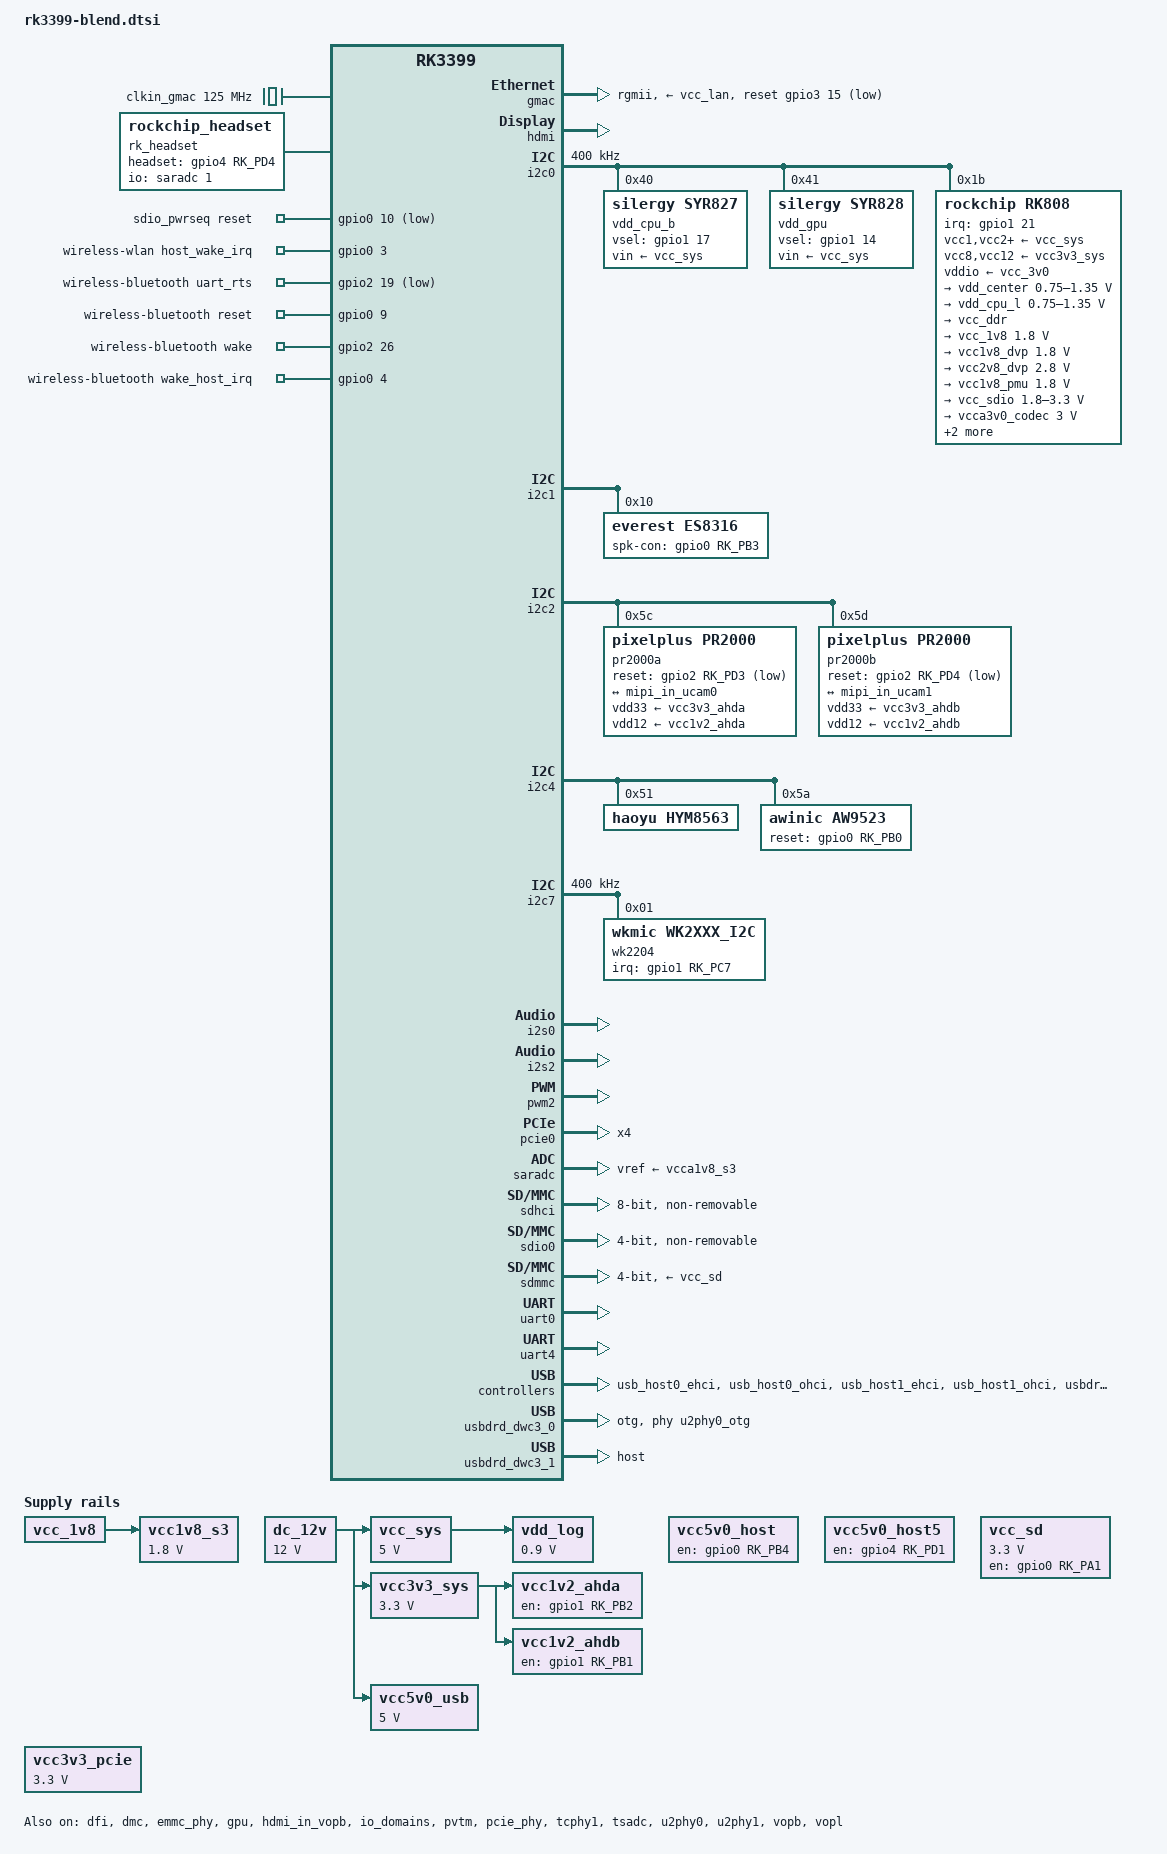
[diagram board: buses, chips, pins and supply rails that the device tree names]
/*
 * Copyright (c) 2018 Fuzhou Rockchip Electronics Co., Ltd
 *
 * SPDX-License-Identifier: (GPL-2.0+ OR MIT)
 */

/dts-v1/;

#include "rk3399.dtsi"
#include "rk3399-opp.dtsi"
#include "dt-bindings/pwm/pwm.h"
#include <dt-bindings/sensor-dev.h>
#include <dt-bindings/input/input.h>
#include <dt-bindings/suspend/rockchip-rk3399.h>

/ {

	clkin_gmac: external-gmac-clock {
		compatible = "fixed-clock";
		clock-frequency = <125000000>;
		clock-output-names = "clkin_gmac";
		#clock-cells = <0>;
	};

	dc_12v: dc-12v {
		compatible = "regulator-fixed";
		regulator-name = "dc_12v";
		regulator-always-on;
		regulator-boot-on;
		regulator-min-microvolt = <12000000>;
		regulator-max-microvolt = <12000000>;
	};

	es8316-sound {
		compatible = "simple-audio-card";
		simple-audio-card,format = "i2s";
		simple-audio-card,name = "rockchip,es8316-codec";
		simple-audio-card,mclk-fs = <256>;
		simple-audio-card,widgets =
			"Microphone", "Mic Jack",
			"Headphone", "Headphone Jack";
		simple-audio-card,routing =
			"Mic Jack", "MICBIAS1",
			"IN1P", "Mic Jack",
			"Headphone Jack", "HPOL",
			"Headphone Jack", "HPOR";
		simple-audio-card,cpu {
			sound-dai = <&i2s0>;
		};
		simple-audio-card,codec {
			sound-dai = <&es8316>;
		};
	};

	hdmi_sound: hdmi-sound {
		status = "okay";
		compatible = "simple-audio-card";
		simple-audio-card,format = "i2s";
		simple-audio-card,mclk-fs = <256>;
		simple-audio-card,name = "rockchip,hdmi";

		simple-audio-card,cpu {
			sound-dai = <&i2s2>;
		};
		simple-audio-card,codec {
			sound-dai = <&hdmi>;
		};
	};

	rk_headset {
		compatible = "rockchip_headset";
		io-channels = <&saradc 1>;
		io-channels-name = "headset";
		headset_gpio = <&gpio4 RK_PD4 GPIO_ACTIVE_HIGH>;
		pinctrl-names = "default";
		pinctrl-0 = <&headset_det>;
		status = "okay";
	};

	sdio_pwrseq: sdio-pwrseq {
		compatible = "mmc-pwrseq-simple";
		clocks = <&rk808 1>;
		clock-names = "ext_clock";
		pinctrl-names = "default";
		pinctrl-0 = <&wifi_enable_h>;

		/*
		 * On the module itself this is one of these (depending
		 * on the actual card populated):
		 * - SDIO_RESET_L_WL_REG_ON
		 * - PDN (power down when low)
		 */
		reset-gpios = <&gpio0 10 GPIO_ACTIVE_LOW>; /* GPIO0_B2 */
	};

	vcc_sys: vcca: vcc-sys {
		compatible = "regulator-fixed";
		regulator-name = "vcc_sys";
		regulator-always-on;
		regulator-boot-on;
		regulator-min-microvolt = <5000000>;
		regulator-max-microvolt = <5000000>;
		vin-supply = <&dc_12v>;
	};

	vcc3v3_sys: vcc3v3-sys {
		compatible = "regulator-fixed";
		regulator-name = "vcc3v3_sys";
		regulator-always-on;
		regulator-boot-on;
		regulator-min-microvolt = <3300000>;
		regulator-max-microvolt = <3300000>;
		vin-supply = <&dc_12v>;
	};

	vdd_log: vdd-log {
		compatible = "regulator-fixed";
		regulator-name = "vdd_log";
		regulator-always-on;
		regulator-boot-on;
		regulator-min-microvolt = <900000>;
		regulator-max-microvolt = <900000>;
		vin-supply = <&vcc_sys>;
	};

	/* switched by pmic_sleep */
	vcc1v8_s3: vcca1v8_s3: vcc1v8-s3 {
		compatible = "regulator-fixed";
		regulator-name = "vcc1v8_s3";
		regulator-always-on;
		regulator-boot-on;
		regulator-min-microvolt = <1800000>;
		regulator-max-microvolt = <1800000>;
		vin-supply = <&vcc_1v8>;
	};


	vcc5v0_usb: vcc5v0_host1: vcc5v0_host2: vcc5v0_host3: vcc5v0-usb {
		compatible = "regulator-fixed";
		regulator-name = "vcc5v0_usb";
		regulator-always-on;
		regulator-boot-on;
		regulator-min-microvolt = <5000000>;
		regulator-max-microvolt = <5000000>;
		vin-supply = <&dc_12v>;
	};

	vcc5v0_host: vcc5v0_host4: vcc5v0-host4 {
		compatible = "regulator-fixed";
		regulator-name = "vcc5v0_host";
		enable-active-high;
		regulator-always-on;
		gpio = <&gpio0 RK_PB4 GPIO_ACTIVE_HIGH>;
		pinctrl-names = "default";
		pinctrl-0 = <&host_vbus_drv>;
	};


	vcc5v0_host5:vcc5v0-host5 {
		compatible = "regulator-fixed";
		regulator-name = "vcc5v0_host5";
		enable-active-high;
		regulator-always-on;
		gpio = <&gpio4 RK_PD1 GPIO_ACTIVE_HIGH>;
		pinctrl-names = "default";
		pinctrl-0 = <&host5_5v_en>;
	};

#if 0
	vcc5v0_ext: vcc3v3_ext: vcc-ext {
		compatible = "regulator-fixed";
		enable-active-high;
		gpio = <&gpio4 25 GPIO_ACTIVE_HIGH>;
		pinctrl-names = "default";
		pinctrl-0 = <&vcc_ext_pin>;
		regulator-name = "vcc_ext";
		regulator-always-on;
	};
#endif

	vcc_sd: vcc-sd {
		compatible = "regulator-fixed";
		enable-active-high;
		gpio = <&gpio0 RK_PA1 GPIO_ACTIVE_HIGH>;
		pinctrl-names = "default";
		pinctrl-0 = <&vcc_sd_h>;
		regulator-name = "vcc_sd";
		regulator-min-microvolt = <3300000>;
		regulator-max-microvolt = <3300000>;
	};

	vcc1v2_ahda: vcc3v3_ahda: vcc3v3-ahda {
		compatible = "regulator-fixed";
		enable-active-high;
		gpio = <&gpio1 RK_PB2 GPIO_ACTIVE_HIGH>;
		pinctrl-names = "default";
		pinctrl-0 = <&pr2000_pwren_a>;
		regulator-name = "ahd_pwren_a";
		vin-supply = <&vcc3v3_sys>;
	};

	vcc1v2_ahdb: vcc3v3_ahdb: vcc3v3-ahdb {
		compatible = "regulator-fixed";
		enable-active-high;
		gpio = <&gpio1 RK_PB1 GPIO_ACTIVE_HIGH>;
		pinctrl-names = "default";
		pinctrl-0 = <&pr2000_pwren_b>;
		regulator-name = "ahd_pwren_b";
		vin-supply = <&vcc3v3_sys>;
	};


	vcc3v3_pcie: vcc3v3-pcie {
		compatible = "regulator-fixed";
		regulator-always-on;
		regulator-boot-on;
#if 1
		regulator-min-microvolt = <3300000>;
		regulator-max-microvolt = <3300000>;
#else
		enable-active-high;
		gpio = <&gpio1 RK_PC2 GPIO_ACTIVE_HIGH>;
		pinctrl-names = "default";
		pinctrl-0 = <&vcc_pcie>;
#endif
		regulator-name = "vcc_pcie";
	};

	wireless-wlan {
		compatible = "wlan-platdata";
		rockchip,grf = <&grf>;
		wifi_chip_type = "ap6256";
		sdio_vref = <1800>;
		WIFI,host_wake_irq = <&gpio0 3 GPIO_ACTIVE_HIGH>; /* GPIO0_a3 */
		status = "okay";
	};

	wireless-bluetooth {
		compatible = "bluetooth-platdata";
		clocks = <&rk808 1>;
		clock-names = "ext_clock";
		//wifi-bt-power-toggle;
		uart_rts_gpios = <&gpio2 19 GPIO_ACTIVE_LOW>; /* GPIO2_C3 */
		pinctrl-names = "default", "rts_gpio";
		pinctrl-0 = <&uart0_rts>;
		pinctrl-1 = <&uart0_gpios>;
		//BT,power_gpio  = <&gpio3 19 GPIO_ACTIVE_HIGH>; /* GPIOx_xx */
		BT,reset_gpio    = <&gpio0 9 GPIO_ACTIVE_HIGH>; /* GPIO0_B1 */
		BT,wake_gpio     = <&gpio2 26 GPIO_ACTIVE_HIGH>; /* GPIO2_D2 */
		BT,wake_host_irq = <&gpio0 4 GPIO_ACTIVE_HIGH>; /* GPIO0_A4 */
		status = "okay";
	};
};


&cpu_l0 {
	cpu-supply = <&vdd_cpu_l>;
};

&cpu_l1 {
	cpu-supply = <&vdd_cpu_l>;
};

&cpu_l2 {
	cpu-supply = <&vdd_cpu_l>;
};

&cpu_l3 {
	cpu-supply = <&vdd_cpu_l>;
};

&cpu_b0 {
	cpu-supply = <&vdd_cpu_b>;
};

&cpu_b1 {
	cpu-supply = <&vdd_cpu_b>;
};

&dfi {
	status = "okay";
};

&dmc {
	status = "okay";
	center-supply = <&vdd_center>;
	upthreshold = <40>;
	downdifferential = <20>;
	system-status-freq = <
		/*system status         freq(KHz)*/
		SYS_STATUS_NORMAL       800000
		SYS_STATUS_REBOOT       528000
		SYS_STATUS_SUSPEND      200000
		SYS_STATUS_VIDEO_1080P  200000
		SYS_STATUS_VIDEO_4K     600000
		SYS_STATUS_VIDEO_4K_10B 800000
		SYS_STATUS_PERFORMANCE  800000
		SYS_STATUS_BOOST        400000
		SYS_STATUS_DUALVIEW     600000
		SYS_STATUS_ISP          600000
	>;
	vop-bw-dmc-freq = <
	/* min_bw(MB/s) max_bw(MB/s) freq(KHz) */
		0       762      200000
		763     1893     400000
		1894    3012     528000
		3013    99999    800000
	>;
	auto-min-freq = <200000>;
};

&emmc_phy {
	status = "okay";
};

&gmac {
	phy-supply = <&vcc_lan>;
	phy-mode = "rgmii";
	clock_in_out = "input";
	snps,reset-gpio = <&gpio3 15 GPIO_ACTIVE_LOW>;
	snps,reset-active-low;
	snps,reset-delays-us = <0 10000 50000>;
	assigned-clocks = <&cru SCLK_RMII_SRC>;
	assigned-clock-parents = <&clkin_gmac>;
	pinctrl-names = "default";
	pinctrl-0 = <&rgmii_pins>;
	tx_delay = <0x30>;
	rx_delay = <0x11>;
	status = "okay";
};

&gpu {
	status = "okay";
	mali-supply = <&vdd_gpu>;
};

&hdmi {
	status = "okay";
	#address-cells = <1>;
	#size-cells = <0>;
	#sound-dai-cells = <0>;
	ddc-i2c-scl-high-time-ns = <9625>;
	ddc-i2c-scl-low-time-ns = <10000>;
};

&hdmi_in_vopb {
	status = "okay";
};

&hdmi_in_vopl {
	status = "disabled";
};

&i2c0 {
	status = "okay";
	i2c-scl-rising-time-ns = <168>;
	i2c-scl-falling-time-ns = <4>;
	clock-frequency = <400000>;

	vdd_cpu_b: syr827@40 {
		compatible = "silergy,syr827";
		reg = <0x40>;
		vin-supply = <&vcc_sys>;
		regulator-compatible = "fan53555-reg";
		pinctrl-0 = <&vsel1_gpio>;
		vsel-gpios = <&gpio1 17 GPIO_ACTIVE_HIGH>;
		regulator-name = "vdd_cpu_b";
		regulator-min-microvolt = <712500>;
		regulator-max-microvolt = <1500000>;
		regulator-ramp-delay = <1000>;
		fcs,suspend-voltage-selector = <1>;
		regulator-always-on;
		regulator-boot-on;
		regulator-initial-state = <3>;
		regulator-state-mem {
			regulator-off-in-suspend;
		};
	};

	vdd_gpu: syr828@41 {
		compatible = "silergy,syr828";
		reg = <0x41>;
		vin-supply = <&vcc_sys>;
		regulator-compatible = "fan53555-reg";
		pinctrl-0 = <&vsel2_gpio>;
		vsel-gpios = <&gpio1 14 GPIO_ACTIVE_HIGH>;
		regulator-name = "vdd_gpu";
		regulator-min-microvolt = <712500>;
		regulator-max-microvolt = <1500000>;
		regulator-ramp-delay = <1000>;
		fcs,suspend-voltage-selector = <1>;
		regulator-always-on;
		regulator-boot-on;
		regulator-initial-state = <3>;
		regulator-state-mem {
			regulator-off-in-suspend;
		};
	};

	rk808: pmic@1b {
		compatible = "rockchip,rk808";
		reg = <0x1b>;
		interrupt-parent = <&gpio1>;
		interrupts = <21 IRQ_TYPE_LEVEL_LOW>;
		pinctrl-names = "default";

#if 1
		pinctrl-0 = <&pmic_int_l>;
#else
		pinctrl-0 = <&pmic_int_l &pmic_dvs2>;
#endif
		rockchip,system-power-controller;
		wakeup-source;
		#clock-cells = <1>;
		clock-output-names = "xin32k", "rk808-clkout2";

		vcc1-supply = <&vcc_sys>;
		vcc2-supply = <&vcc_sys>;
		vcc3-supply = <&vcc_sys>;
		vcc4-supply = <&vcc_sys>;
		vcc6-supply = <&vcc_sys>;
		vcc7-supply = <&vcc_sys>;
		vcc8-supply = <&vcc3v3_sys>;
		vcc9-supply = <&vcc_sys>;
		vcc10-supply = <&vcc_sys>;
		vcc11-supply = <&vcc_sys>;
		vcc12-supply = <&vcc3v3_sys>;
		vddio-supply = <&vcc_3v0>;

		regulators {
			vdd_center: DCDC_REG1 {
				regulator-always-on;
				regulator-boot-on;
				regulator-min-microvolt = <750000>;
				regulator-max-microvolt = <1350000>;
				regulator-ramp-delay = <6001>;
				regulator-name = "vdd_center";
				regulator-state-mem {
					regulator-off-in-suspend;
				};
			};

			vdd_cpu_l: DCDC_REG2 {
				regulator-always-on;
				regulator-boot-on;
				regulator-min-microvolt = <750000>;
				regulator-max-microvolt = <1350000>;
				regulator-ramp-delay = <6001>;
				regulator-name = "vdd_cpu_l";
				regulator-state-mem {
					regulator-off-in-suspend;
				};
			};

			vcc_ddr: DCDC_REG3 {
				regulator-always-on;
				regulator-boot-on;
				regulator-name = "vcc_ddr";
				regulator-state-mem {
					regulator-on-in-suspend;
				};
			};

			vcc_1v8: DCDC_REG4 {
				regulator-always-on;
				regulator-boot-on;
				regulator-min-microvolt = <1800000>;
				regulator-max-microvolt = <1800000>;
				regulator-name = "vcc_1v8";
				regulator-state-mem {
					regulator-on-in-suspend;
					regulator-suspend-microvolt = <1800000>;
				};
			};

			vcc1v8_dvp: LDO_REG1 {
				regulator-always-on;
				regulator-boot-on;
				regulator-min-microvolt = <1800000>;
				regulator-max-microvolt = <1800000>;
				regulator-name = "vcc1v8_dvp";
				regulator-state-mem {
					regulator-off-in-suspend;
				};
			};

			vcc2v8_dvp: LDO_REG2 {
				regulator-always-on;
				regulator-boot-on;
				regulator-min-microvolt = <2800000>;
				regulator-max-microvolt = <2800000>;
				regulator-name = "vcc2v8_dvp";
				regulator-state-mem {
					regulator-off-in-suspend;
				};
			};

			vcc1v8_pmu: LDO_REG3 {
				regulator-always-on;
				regulator-boot-on;
				regulator-min-microvolt = <1800000>;
				regulator-max-microvolt = <1800000>;
				regulator-name = "vcc1v8_pmu";
				regulator-state-mem {
					regulator-on-in-suspend;
					regulator-suspend-microvolt = <1800000>;
				};
			};

			vcc_sdio: LDO_REG4 {
				regulator-always-on;
				regulator-boot-on;
				regulator-min-microvolt = <1800000>;
				regulator-max-microvolt = <3300000>;
				regulator-name = "vcc_sdio";
				regulator-state-mem {
					regulator-off-in-suspend;
				};
			};

			vcca3v0_codec: LDO_REG5 {
				regulator-always-on;
				regulator-boot-on;
				regulator-min-microvolt = <3000000>;
				regulator-max-microvolt = <3000000>;
				regulator-name = "vcca3v0_codec";
				regulator-state-mem {
					regulator-off-in-suspend;
				};
			};

			vcc_1v5: LDO_REG6 {
				regulator-always-on;
				regulator-boot-on;
				regulator-min-microvolt = <1500000>;
				regulator-max-microvolt = <1500000>;
				regulator-name = "vcc_1v5";
				regulator-state-mem {
					regulator-on-in-suspend;
					regulator-suspend-microvolt = <1500000>;
				};
			};

			vcca1v8_codec: LDO_REG7 {
				regulator-always-on;
				regulator-boot-on;
				regulator-min-microvolt = <1800000>;
				regulator-max-microvolt = <1800000>;
				regulator-name = "vcca1v8_codec";
				regulator-state-mem {
					regulator-off-in-suspend;
				};
			};

			vcc_3v0: LDO_REG8 {
				regulator-always-on;
				regulator-boot-on;
				regulator-min-microvolt = <3000000>;
				regulator-max-microvolt = <3000000>;
				regulator-name = "vcc_3v0";
				regulator-state-mem {
					regulator-on-in-suspend;
					regulator-suspend-microvolt = <3000000>;
				};
			};

			vcc3v3_s3: vcc_lan: SWITCH_REG1 {
				regulator-always-on;
				regulator-boot-on;
				regulator-name = "vcc3v3_s3";
				regulator-state-mem {
					regulator-off-in-suspend;
				};
			};

			vcc3v3_s0: vcc_lcd: SWITCH_REG2 {
				regulator-always-on;
				regulator-boot-on;
				regulator-name = "vcc3v3_s0";
				regulator-state-mem {
					regulator-off-in-suspend;
				};
			};
		};
	};
};

&i2c1 {
	status = "okay";
	i2c-scl-rising-time-ns = <140>;
	i2c-scl-falling-time-ns = <30>;

	es8316: es8316@10 {
		#sound-dai-cells = <0>;
		compatible = "everest,es8316";
		reg = <0x10>;
		clocks = <&cru SCLK_I2S_8CH_OUT>;
		clock-names = "mclk";
		pinctrl-names = "default";
		pinctrl-0 = <&i2s_8ch_mclk>;
		spk-con-gpio = <&gpio0 RK_PB3 GPIO_ACTIVE_HIGH>;
	};

};

&i2c2 {
	status = "okay";

	i2c-scl-rising-time-ns = <600>;
	i2c-scl-falling-time-ns = <20>;

	pr2000a: pr2000a@5c {
		compatible = "pixelplus,pr2000";
		status = "okay";
		reg = <0x5c>;

		clocks = <&cam27m_clk_a>;
		clock-names = "xvclk";

		vdd33-supply = <&vcc3v3_ahda>;
		vdd12-supply = <&vcc1v2_ahda>;

		reset-gpios = <&gpio2 RK_PD3 GPIO_ACTIVE_LOW>;

		pinctrl-names = "default";
		pinctrl-0 = <&pr2000_gpios_a>;


		rockchip,camera-module-index = <0>;
		rockchip,camera-module-facing = "back";
		rockchip,camera-module-name = "RTAVS-PR2000";
		rockchip,camera-module-lens-name = "RTAVS-100";

		cam27m_clk_a: camera-27m-clock-a {
			compatible = "fixed-clock";
			clock-frequency = <27000000>;
			clock-output-names = "cam27ma";
			#clock-cells = <0>;
		};

		port {
			ucam_out0: endpoint {
				remote-endpoint = <&mipi_in_ucam0>;
				clock-lanes = <0>;
				data-lanes = <1 2 3 4>;
			};
		};
	};


	pr2000b: pr2000b@5d {
		compatible = "pixelplus,pr2000";
		status = "okay";
		reg = <0x5d>;

		clocks = <&cam27m_clk_b>;
		clock-names = "xvclk";

		vdd33-supply = <&vcc3v3_ahdb>;
		vdd12-supply = <&vcc1v2_ahdb>;

		reset-gpios = <&gpio2 RK_PD4 GPIO_ACTIVE_LOW>;

		pinctrl-names = "default";
		pinctrl-0 = <&pr2000_gpios_b>;


		rockchip,camera-module-index = <1>;
		rockchip,camera-module-facing = "front";
		rockchip,camera-module-name = "RTAVS-PR2000";
		rockchip,camera-module-lens-name = "RTAVS-100";

		cam27m_clk_b: camera-27m-clock-b {
			compatible = "fixed-clock";
			clock-frequency = <27000000>;
			clock-output-names = "cam27mb";
			#clock-cells = <0>;
		};

		port {
			ucam_out1: endpoint {
				remote-endpoint = <&mipi_in_ucam1>;
				clock-lanes = <0>;
				data-lanes = <1 2 3 4>;
			};
		};
	};
};


&i2c4 {
	status = "okay";
	i2c-scl-rising-time-ns = <600>;
	i2c-scl-falling-time-ns = <20>;

	hym8563: hym8563@51 {
		compatible = "haoyu,hym8563";
		reg = <0x51>;
		status = "okay";
	};

	aw9523: aw9523@5a {
		compatible = "awinic,aw9523";
		reg = <0x5a>;
		status = "okay";

		reset-gpios = <&gpio0 RK_PB0 GPIO_ACTIVE_HIGH>;

		pinctrl-names = "default";
		pinctrl-0 = <&aw9523_reset>;

		aw9523_gpio: gpio {
			compatible = "awinic,aw9523-gpio";
			gpio-controller;
			#gpio-cells = <2>;
		};
	};
};

&i2c7 {
	status = "okay";
	clock-frequency = <400000>;
	i2c-scl-rising-time-ns = <600>;
	i2c-scl-falling-time-ns = <20>;

	wk2204@01 {
		compatible = "wkmic,wk2xxx_i2c";
		reg = <0x01>;
		interrupt-parent = <&gpio1>;
		interrupts = <RK_PC7 IRQ_TYPE_LEVEL_LOW>;
		pinctrl-names = "default";
		pinctrl-0 = <&wk2xxx_irq_gpio>;
		status = "okay";
	};

};


&i2s0 {
	status = "okay";
	pinctrl-0 = <&i2s0_2ch_bus>;
	rockchip,i2s-broken-burst-len;
	rockchip,playback-channels = <2>;
	rockchip,capture-channels = <2>;
	rockchip,bclk-fs = <32>;
	#sound-dai-cells = <0>;
};

&i2s2 {
	#sound-dai-cells = <0>;
	status = "okay";
};

&io_domains {
	status = "okay";

	bt656-supply = <&vcc1v8_dvp>;		/* bt656_gpio2ab_ms */
	audio-supply = <&vcca1v8_codec>;	/* audio_gpio3d4a_ms */
	sdmmc-supply = <&vcc_sdio>;		/* sdmmc_gpio4b_ms */
	gpio1830-supply = <&vcc_3v0>;		/* gpio1833_gpio4cd_ms */
};

&isp0_mmu {
	status = "okay";
};

&isp1_mmu {
	status = "okay";
};

&pmu_io_domains {
	status = "okay";
	pmu1830-supply = <&vcc_1v8>;
};

&pmu_pvtm {
	status = "okay";
};

&pvtm {
	status = "okay";
};

&pwm2 {
	status = "okay";
};

&pcie_phy {
	status = "okay";
};

&pcie0 {
	status = "okay";
	ep-gpios = <&gpio1 RK_PA4 GPIO_ACTIVE_LOW>;
	num-lanes = <4>;
	pinctrl-names = "default";
	pinctrl-0 = <&pcie_clkreqnb_cpm>;
#if 0
	vpcie3v3-supply = <&vcc3v3_pcie>;
#endif
	status = "okay";
};

&rockchip_suspend {
	status = "okay";
	rockchip,sleep-debug-en = <1>;

	rockchip,sleep-mode-config = <
		(0
		| RKPM_SLP_ARMPD
		| RKPM_SLP_PERILPPD
		| RKPM_SLP_DDR_RET
		| RKPM_SLP_PLLPD
		| RKPM_SLP_OSC_DIS
		| RKPM_SLP_CENTER_PD
		| RKPM_SLP_AP_PWROFF
		)
		>;
	rockchip,wakeup-config = <
		(0
		| RKPM_GPIO_WKUP_EN
		| RKPM_PWM_WKUP_EN
		)
		>;
	rockchip,pwm-regulator-config = <
		(0
		| PWM2_REGULATOR_EN
		)
		>;

	rockchip,power-ctrl =
		<&gpio1 17 GPIO_ACTIVE_HIGH>,
		<&gpio1 14 GPIO_ACTIVE_HIGH>;
};



&saradc {
	status = "okay";
	vref-supply = <&vcca1v8_s3>;
};

&sdhci {
	bus-width = <8>;
	keep-power-in-suspend;
	mmc-hs400-1_8v;
	mmc-hs400-enhanced-strobe;
	non-removable;
	status = "okay";
	supports-emmc;
};

&sdio0 {
	max-frequency = <50000000>;
	supports-sdio;
	bus-width = <4>;
	disable-wp;
	cap-sd-highspeed;
	keep-power-in-suspend;
	mmc-pwrseq = <&sdio_pwrseq>;
	non-removable;
	num-slots = <1>;
	pinctrl-names = "default";
	pinctrl-0 = <&sdio0_bus4 &sdio0_cmd &sdio0_clk>;
	sd-uhs-sdr104;
	status = "okay";
};

&sdmmc {
	max-frequency = <150000000>;
	supports-sd;
	bus-width = <4>;
	cap-mmc-highspeed;
	cap-sd-highspeed;
	disable-wp;
	num-slots = <1>;
	vmmc-supply = <&vcc_sd>;
	vqmmc-supply = <&vcc_sdio>;
	pinctrl-names = "default";
	pinctrl-0 = <&sdmmc_clk &sdmmc_cmd &sdmmc_cd &sdmmc_bus4>;
	status = "okay";
};

&tcphy0 {
	status = "disabled";
};

&tcphy1 {
	status = "okay";
};

&tsadc {
	/* tshut mode 0:CRU 1:GPIO */
	rockchip,hw-tshut-mode = <1>;
	/* tshut polarity 0:LOW 1:HIGH */
	rockchip,hw-tshut-polarity = <1>;
	status = "okay";
};


&u2phy0 {
	status = "okay";

	u2phy0_otg: otg-port {
		status = "okay";
	};

	u2phy0_host: host-port {
		phy-supply = <&vcc5v0_host5>;
		status = "okay";
	};
};

&u2phy1 {
	status = "okay";

	u2phy1_otg: otg-port {
		status = "okay";
	};

	u2phy1_host: host-port {
		phy-supply = <&vcc5v0_host5>;
		status = "okay";
	};
};

&uart0 {
	pinctrl-names = "default";
	pinctrl-0 = <&uart0_xfer &uart0_cts>;
	status = "okay";
};

&uart4 {
	status = "okay";
	dmas = <&dmac_peri 8>, <&dmac_peri 9>;
	dma-names = "tx", "rx";
};

&usb_host0_ehci {
	status = "okay";
};

&usb_host0_ohci {
	status = "okay";
};

&usb_host1_ehci {
	status = "okay";
};

&usb_host1_ohci {
	status = "okay";
};

&usbdrd3_0 {
	extcon = <&u2phy0>;
	status = "okay";
};

&usbdrd3_1 {
	status = "okay";
};

&usbdrd_dwc3_0 {
	maximum-speed = "high-speed";
	phys = <&u2phy0_otg>;
	phy-names = "usb2-phy";
	dr_mode = "otg";
	status = "okay";
};

&usbdrd_dwc3_1 {
	status = "okay";
	dr_mode = "host";
};


&vopb {
	status = "okay";
	assigned-clocks = <&cru DCLK_VOP0_DIV>;
	assigned-clock-parents = <&cru PLL_VPLL>;
};

&vopb_mmu {
	status = "okay";
};

&vopl {
	status = "okay";
	assigned-clocks = <&cru DCLK_VOP0_DIV>;
	assigned-clock-parents = <&cru PLL_CPLL>;
};

&vopl_mmu {
	status = "okay";
};

&pinctrl {

	aw9523 {
		aw9523_reset: aw9523-reset {
		rockchip,pins =
				<0 RK_PB0 RK_FUNC_GPIO &pcfg_output_low>;	// reset
		};
	};

	pmic {
		vsel1_gpio: vsel1-gpio {
			rockchip,pins = <1 17 RK_FUNC_GPIO &pcfg_pull_down>;
		};

		vsel2_gpio: vsel2-gpio {
			rockchip,pins = <1 14 RK_FUNC_GPIO &pcfg_pull_down>;
		};

		pmic_int_l: pmic-int-l {
			rockchip,pins = <1 21 RK_FUNC_GPIO &pcfg_pull_up>;
		};
	};

	pr2000 {
		pr2000_pwren_a: pr2000-pwren-a {
			rockchip,pins =
				<1 RK_PB2 RK_FUNC_GPIO &pcfg_output_high>;
		};

		pr2000_gpios_a: pr2000-gpios-a {
			rockchip,pins =
				<2 RK_PD3 RK_FUNC_GPIO &pcfg_output_high>;	// reset
		};

		pr2000_pwren_b: pr2000-pwren-b {
			rockchip,pins =
				<1 RK_PB1 RK_FUNC_GPIO &pcfg_output_high>;
		};

		pr2000_gpios_b: pr2000-gpios-b {
			rockchip,pins =
				<2 RK_PD4 RK_FUNC_GPIO &pcfg_output_high>;	// reset
		};
	};

	sdio-pwrseq {
		wifi_enable_h: wifi-enable-h {
			rockchip,pins =
				<0 10 RK_FUNC_GPIO &pcfg_pull_none>;
		};
	};

	wireless-bluetooth {
		uart0_gpios: uart0-gpios {
			rockchip,pins =
				<2 19 RK_FUNC_GPIO &pcfg_pull_none>;
		};
	};

	usb {
		host_vbus_drv: host-vbus-drv {
			rockchip,pins =
				<0 RK_PB4 RK_FUNC_GPIO &pcfg_pull_none>;
		};

		host5_5v_en: host5-5v-en {
			rockchip,pins =
				<4 RK_PD1 RK_FUNC_GPIO &pcfg_pull_none>;
		};

	};

	headset {
		headset_det: headset-det {
			rockchip,pins = <4 RK_PD4 RK_FUNC_GPIO &pcfg_pull_none>;
		};
	};

	wk2204 {
		wk2xxx_irq_gpio: wk2xxx-irq-gpio {
			rockchip,pins = <1 RK_PC7 RK_FUNC_GPIO &pcfg_pull_up>;
		};
	};

	vcc_sd {
		vcc_sd_h: vcc-sd-h {
			rockchip,pins =
				<0 RK_PA1 RK_FUNC_GPIO &pcfg_pull_up>;
		};
	};
};
